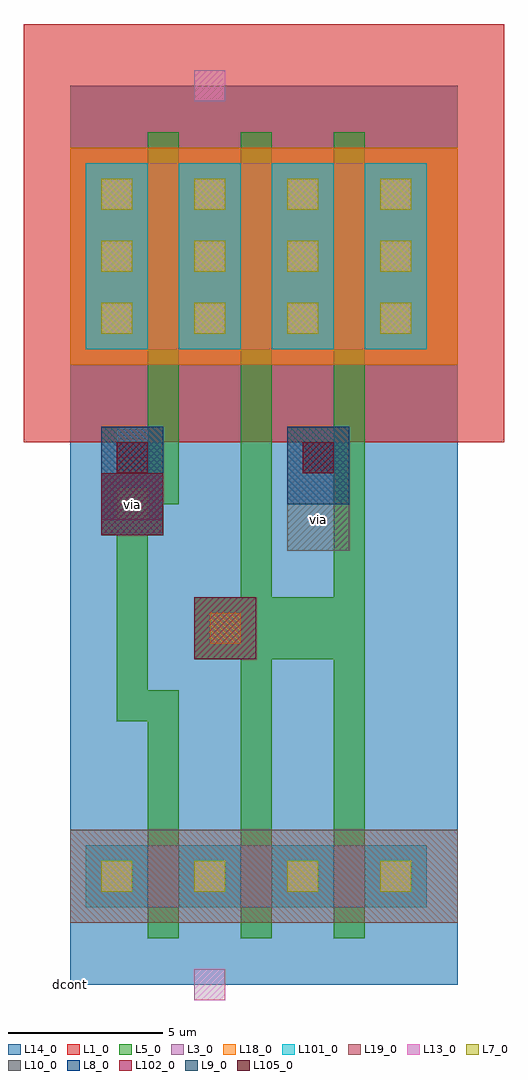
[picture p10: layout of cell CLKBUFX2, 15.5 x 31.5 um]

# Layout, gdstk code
import gdstk
lib = gdstk.Library(unit=1e-6, precision=1e-09)
def R(c, l, rs):  # rectangles x0, y0, x1, y1
    for r in rs: c.add(gdstk.rectangle(r[:2], r[2:], *l))
def A(c, l, x, y, w, h, nx, ny, dx, dy):  # array of equal rectangles
    R(c, l, [(x+i*dx, y+j*dy, x+i*dx+w, y+j*dy+h) for i in range(nx) for j in range(ny)])
def P(c, l, *ps):  # polygons
    for p in ps: c.add(gdstk.Polygon(p, *l))
L1_0 = (1, 0)
L3_0 = (3, 0)
L5_0 = (5, 0)
L7_0 = (7, 0)
L8_0 = (8, 0)
L9_0 = (9, 0)
L10_0 = (10, 0)
L13_0 = (13, 0)
L14_0 = (14, 0)
L18_0 = (18, 0)
L19_0 = (19, 0)
L101_0 = (101, 0)
L102_0 = (102, 0)
L105_0 = (105, 0)

clkbufx2 = lib.new_cell('CLKBUFX2')
R(clkbufx2, L1_0, [(-1.5,17.5,14,31)])
R(clkbufx2, L3_0, [(0.5,2.5,11.5,4.5), (0.5,20.5,11.5,26.5)])
P(clkbufx2, L5_0, [(2.5,1.5),(2.5,8.5),(1.5,8.5),(1.5,14.5),(1,14.5),(1,16.5),(2.5,16.5),(2.5,27.5),(3.5,27.5),(3.5,15.5),(3,15.5),(3,14.5),(2.5,14.5),(2.5,9.5),(3.5,9.5),(3.5,1.5)],
  [(5.5,1.5),(5.5,10.5),(4,10.5),(4,12.5),(5.5,12.5),(5.5,27.5),(6.5,27.5),(6.5,12.5),(8.5,12.5),(8.5,27.5),(9.5,27.5),(9.5,1.5),(8.5,1.5),(8.5,10.5),(6.5,10.5),(6.5,1.5)])
A(clkbufx2, L7_0, 1, 3, 1, 1, 4, 2, 3, 18)
A(clkbufx2, L7_0, 1, 23, 1, 1, 4, 2, 3, 2)
R(clkbufx2, L7_0, [(4.5,11,5.5,12), (1.5,15,2.5,16)])
R(clkbufx2, L8_0, [(1,14.5,3,18), (7,15.5,9,18)])
R(clkbufx2, L9_0, [(1.5,16.5,2.5,17.5), (7.5,16.5,8.5,17.5)])
R(clkbufx2, L10_0, [(7,14,9,18), (1,15,3,18)])
A(clkbufx2, L13_0, 1, 3, 1, 1, 4, 2, 3, 18)
A(clkbufx2, L13_0, 1, 23, 1, 1, 4, 2, 3, 2)
R(clkbufx2, L13_0, [(4,-0.5,5,0.5), (7.5,16.5,8.5,17.5), (1.5,17,2.5,18), (4,28.5,5,29.5)])
R(clkbufx2, L14_0, [(0,0,12.5,29)])
R(clkbufx2, L18_0, [(0,20,12.5,27)])
R(clkbufx2, L19_0, [(0,2,12.5,5)])
A(clkbufx2, L101_0, 0.5, 2.5, 2, 2, 4, 1, 3, 0)
A(clkbufx2, L101_0, 0.5, 20.5, 2, 6, 4, 1, 3, 0)
R(clkbufx2, L102_0, [(4,10.5,6,12.5), (1,14.5,3,16.5)])
R(clkbufx2, L105_0, [(1.5,16.5,2.5,17.5), (7.5,16.5,8.5,17.5)])
clkbufx2.add(gdstk.Label('via', (2,15.5), layer=13, texttype=0))
clkbufx2.add(gdstk.Label('via', (8,15), layer=13, texttype=0))
clkbufx2.add(gdstk.Label('dcont', (0,0), layer=13, texttype=0))
clkbufx2.add(gdstk.Label('dcont', (0,0), layer=13, texttype=0))
clkbufx2.add(gdstk.Label('dcont', (0,0), layer=13, texttype=0))
clkbufx2.add(gdstk.Label('dcont', (0,0), layer=13, texttype=0))
clkbufx2.add(gdstk.Label('dcont', (0,0), layer=13, texttype=0))
clkbufx2.add(gdstk.Label('dcont', (0,0), layer=13, texttype=0))
clkbufx2.add(gdstk.Label('dcont', (0,0), layer=13, texttype=0))
clkbufx2.add(gdstk.Label('dcont', (0,0), layer=13, texttype=0))
clkbufx2.add(gdstk.Label('dcont', (0,0), layer=13, texttype=0))
clkbufx2.add(gdstk.Label('dcont', (0,0), layer=13, texttype=0))
clkbufx2.add(gdstk.Label('dcont', (0,0), layer=13, texttype=0))
clkbufx2.add(gdstk.Label('dcont', (0,0), layer=13, texttype=0))
clkbufx2.add(gdstk.Label('dcont', (0,0), layer=13, texttype=0))
clkbufx2.add(gdstk.Label('dcont', (0,0), layer=13, texttype=0))
clkbufx2.add(gdstk.Label('dcont', (0,0), layer=13, texttype=0))
clkbufx2.add(gdstk.Label('dcont', (0,0), layer=13, texttype=0))
clkbufx2.add(gdstk.Label('PScon', (0,0), layer=13, texttype=0))
clkbufx2.add(gdstk.Label('dcont', (0,0), layer=13, texttype=0))
clkbufx2.add(gdstk.Label('via', (0,0), layer=13, texttype=0))
clkbufx2.add(gdstk.Label('via', (0,0), layer=13, texttype=0))
clkbufx2.add(gdstk.Label('pcont', (0,0), layer=13, texttype=0))
clkbufx2.add(gdstk.Label('pcont', (0,0), layer=13, texttype=0))
clkbufx2.add(gdstk.Label('NScont', (0,0), layer=13, texttype=0))
clkbufx2.add(gdstk.Label('dcont', (0,0), layer=13, texttype=0))

lib.write_gds('CLKBUFX2.gds')
